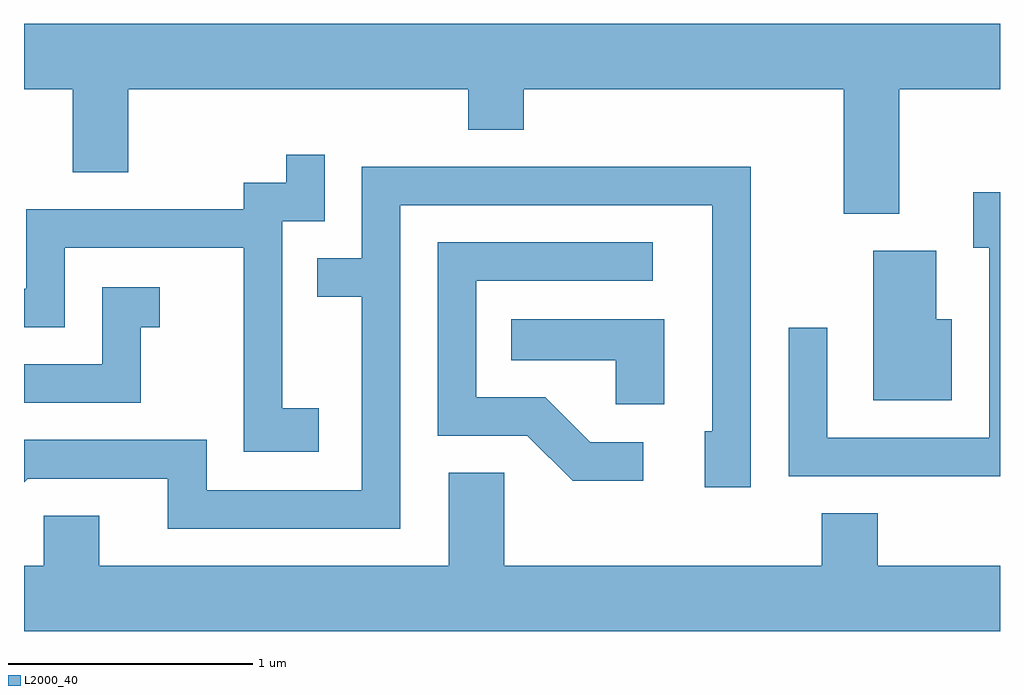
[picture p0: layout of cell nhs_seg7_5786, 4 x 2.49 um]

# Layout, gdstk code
import gdstk
lib = gdstk.Library(unit=1e-6, precision=1e-09)
def P(c, l, *ps):  # polygons
    for p in ps: c.add(gdstk.Polygon(p, *l))
L2000_40 = (2000, 40)

nhs_seg7_5786 = lib.new_cell('nhs_seg7_5786')
P(nhs_seg7_5786, L2000_40, [(365.199,1763.156),(365.611,1763.156),(365.611,1763.424),(361.611,1763.424),(361.611,1763.156),(361.811,1763.156),(361.811,1762.816),(362.039,1762.816),(362.039,1763.156),(363.431,1763.156),(363.431,1762.991),(363.659,1762.991),(363.659,1763.156),(364.971,1763.156),(364.971,1762.646),(365.199,1762.646)],
  [(362.819,1761.849),(362.669,1761.849),(362.669,1762.616),(362.844,1762.616),(362.844,1762.888),(362.686,1762.888),(362.686,1762.774),(362.511,1762.774),(362.511,1762.664),(361.621,1762.664),(361.621,1762.339),(361.611,1762.339),(361.611,1762.181),(361.779,1762.181),(361.779,1762.506),(362.511,1762.506),(362.511,1761.671),(362.819,1761.671)],
  [(363.154,1762.681),(364.431,1762.681),(364.431,1761.754),(364.401,1761.754),(364.401,1761.526),(364.589,1761.526),(364.589,1762.839),(362.996,1762.839),(362.996,1762.464),(362.813,1762.464),(362.813,1762.306),(362.996,1762.306),(362.996,1761.514),(362.359,1761.514),(362.359,1761.719),(361.611,1761.719),(361.611,1761.545),(361.627,1761.561),(362.201,1761.561),(362.201,1761.356),(363.154,1761.356)],
  [(365.611,1762.734),(365.501,1762.734),(365.501,1762.506),(365.566,1762.506),(365.566,1761.729),(364.904,1761.729),(364.904,1762.178),(364.746,1762.178),(364.746,1761.571),(365.611,1761.571)],
  [(364.148,1761.709),(363.932,1761.709),(363.747,1761.894),(363.464,1761.894),(363.464,1762.371),(364.188,1762.371),(364.188,1762.529),(363.306,1762.529),(363.306,1761.736),(363.674,1761.736),(363.859,1761.551),(364.148,1761.551)],
  [(365.414,1762.214),(365.349,1762.214),(365.349,1762.494),(365.091,1762.494),(365.091,1761.881),(365.414,1761.881)],
  [(362.089,1762.181),(362.168,1762.181),(362.168,1762.344),(361.931,1762.344),(361.931,1762.029),(361.611,1762.029),(361.611,1761.871),(362.089,1761.871)],
  [(364.234,1762.214),(363.608,1762.214),(363.608,1762.046),(364.036,1762.046),(364.036,1761.866),(364.234,1761.866)],
  [(365.611,1761.204),(365.109,1761.204),(365.109,1761.419),(364.881,1761.419),(364.881,1761.204),(363.579,1761.204),(363.579,1761.584),(363.351,1761.584),(363.351,1761.204),(361.919,1761.204),(361.919,1761.409),(361.691,1761.409),(361.691,1761.204),(361.611,1761.204),(361.611,1760.936),(365.611,1760.936)])

lib.write_gds('nhs_seg7_5786.gds')
